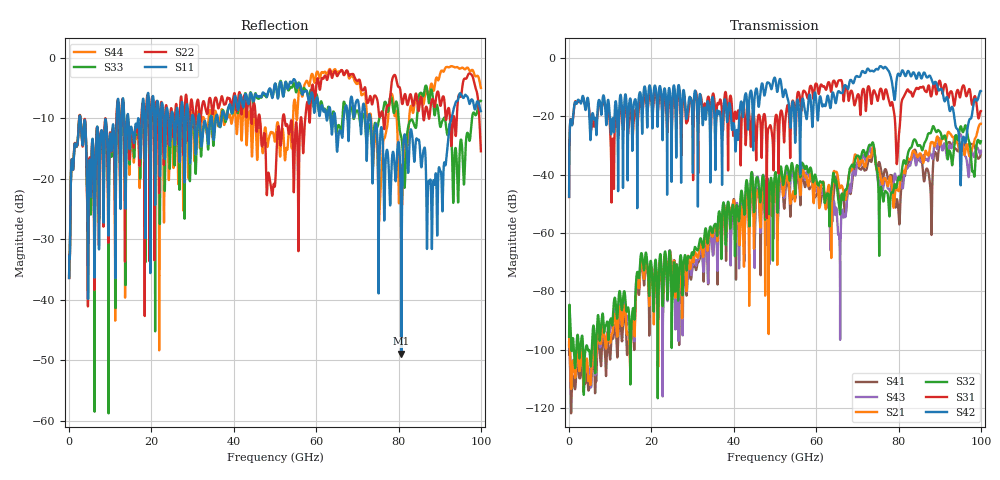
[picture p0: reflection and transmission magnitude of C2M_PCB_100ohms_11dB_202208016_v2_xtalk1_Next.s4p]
! Info: Touchstone file created by Circ.  Input file=Intel_C2M_200G_2p0in_202208016_staggered.circ
# Hz S RI R 50
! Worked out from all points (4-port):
!   10000 points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, 10 MHz to 100 GHz, reference 50 ohm
!   strongest paths, dB at 10 MHz, 25.01 GHz, 50.01 GHz, 75.01 GHz, 100 GHz:
!     S42: -47.5, -19.6, -6.9, -3.9, -11.3
!     S31: -47.7, -21.7, -21.6, -14.4, -18.1
!     S32: -95.6, -86.3, -39.7, -41.6, -28.5
!     S21: -97.6, -73.7, -42.1, -37.8, -22.5
!     S43: -97.5, -80.2, -42.0, -42.1, -31.8
!     S41: -98.4, -70.9, -44.2, -37.3, -32.3
!   lowest |S11| = -48.9 dB at 80.71 GHz (marker M1), VSWR 1.01, Z = 49.7 - j0.0822 ohm
!   |S11| at or under -10 dB: 2.753 GHz to 11.58 GHz (8.832 GHz wide, 123 % of centre); 14.38 GHz to 17.65 GHz (3.268 GHz wide, 20.4 % of centre); 73.2 GHz to 92.91 GHz (19.71 GHz wide, 23.7 % of centre)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
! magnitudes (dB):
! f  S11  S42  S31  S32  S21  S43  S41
! 10 MHz  -36.4  -47.5  -47.7  -95.6  -97.6  -97.5  -98.4
! 3.12 GHz  -13.4  -14.0  -14.4  -95.3  -99.8  -99.7  -103.9
! 54.54 GHz  -3.6  -16.6  -15.2  -38.8  -45.8  -41.5  -47.8
! 65.59 GHz  -12.2  -11.4  -7.6  -50.9  -43.7  -61.2  -48.5
! 80.71 GHz  -48.9  -4.7  -15.4  -39.6  -39.9  -43.7  -44.1
! 95.19 GHz  -6.1  -37.6  -11.8  -23.5  -29.2  -26.4  -29.5
! 100 GHz  -8.8  -11.3  -18.1  -28.5  -22.5  -31.8  -32.3
